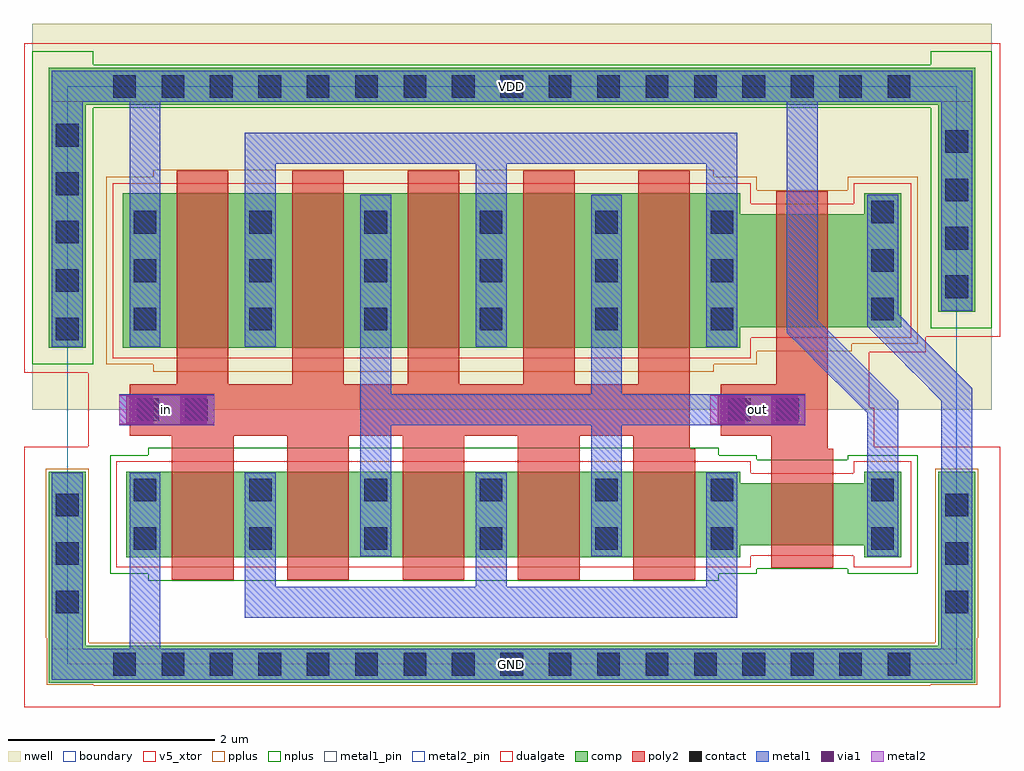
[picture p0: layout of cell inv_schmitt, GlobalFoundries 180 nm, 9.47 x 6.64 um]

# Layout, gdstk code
import gdstk
lib = gdstk.Library(unit=1e-6, precision=1e-09)
def R(c, l, rs):  # rectangles x0, y0, x1, y1
    for r in rs: c.add(gdstk.rectangle(r[:2], r[2:], *l))
def A(c, l, x, y, w, h, nx, ny, dx, dy):  # array of equal rectangles
    R(c, l, [(x+i*dx, y+j*dy, x+i*dx+w, y+j*dy+h) for i in range(nx) for j in range(ny)])
def P(c, l, *ps):  # polygons
    for p in ps: c.add(gdstk.Polygon(p, *l))
boundary = (0, 0)
nwell = (21, 0)
comp = (22, 0)
poly2 = (30, 0)
pplus = (31, 0)
nplus = (32, 0)
contact = (33, 0)
metal1 = (34, 0)
metal1_pin = (34, 10)
via1 = (35, 0)
metal2 = (36, 0)
metal2_pin = (36, 10)
dualgate = (55, 0)
v5_xtor = (112, 1)

inv_schmitt = lib.new_cell('inv_schmitt')
R(inv_schmitt, boundary, [(0,0,8.635,5.61)])
R(inv_schmitt, nwell, [(-0.34,2.47,8.975,6.22)])
R(inv_schmitt, comp, [(-0.18,-0.18,8.815,0.18), (-0.18,0.18,0.18,1.87), (8.455,0.18,8.815,1.87), (0.575,1.04,6.535,1.155), (7.735,1.04,8.095,1.155), (0.575,1.155,8.095,1.755), (0.575,1.755,6.535,1.87), (7.735,1.755,8.095,1.87), (-0.18,3.07,0.18,5.43), (0.54,3.07,6.535,3.27), (0.54,3.27,8.095,4.37), (8.455,3.42,8.815,5.43), (0.54,4.37,6.535,4.57), (7.735,4.37,8.095,4.57), (-0.18,5.43,8.815,5.79)])
A(inv_schmitt, poly2, 1.015, 0.82, 0.6, 1.4, 4, 1, 1.12, 0)
A(inv_schmitt, poly2, 1.065, 2.72, 0.5, 2.07, 5, 1, 1.12, 0)
R(inv_schmitt, poly2, [(5.495,0.82,6.095,2.09), (6.835,0.935,7.435,2.09), (5.495,2.09,6.045,2.22), (6.835,2.09,7.385,2.22), (0.605,2.22,6.045,2.72), (6.345,2.22,7.385,2.72), (6.885,2.72,7.385,4.59)])
R(inv_schmitt, pplus, [(0.255,-0.21,8.38,-0.2), (-0.2,-0.2,8.835,0.21), (-0.2,0.21,0.21,0.255), (8.425,0.21,8.835,0.255), (-0.21,0.255,0.21,1.9), (8.425,0.255,8.845,1.9), (0.835,2.84,6.275,2.91), (0.38,2.91,6.695,3.04), (0.38,3.04,7.615,3.11), (0.38,3.11,8.255,4.6), (0.38,4.6,6.695,4.73), (7.575,4.6,8.255,4.73), (0.835,4.73,6.275,4.8)])
R(inv_schmitt, nplus, [(0.785,0.81,6.325,0.88), (0.415,0.88,6.695,0.925), (7.575,0.88,8.255,0.925), (0.415,0.925,8.255,1.985), (0.415,1.985,6.695,2.03), (7.575,1.985,8.255,2.03), (0.785,2.03,6.325,2.1), (-0.34,2.91,0.25,5.4), (8.385,3.26,8.975,5.4), (-0.34,5.4,8.975,5.82), (-0.34,5.82,0.25,5.95), (8.385,5.82,8.975,5.95)])
A(inv_schmitt, contact, 0.445, -0.11, 0.22, 0.22, 17, 2, 0.47, 5.61)
A(inv_schmitt, contact, -0.11, 0.495, 0.22, 0.22, 1, 3, 0, 0.47)
A(inv_schmitt, contact, 8.525, 0.495, 0.22, 0.22, 1, 3, 0, 0.47)
A(inv_schmitt, contact, 0.645, 1.11, 0.22, 0.22, 6, 2, 1.12, 0.47)
A(inv_schmitt, contact, -0.11, 3.145, 0.22, 0.22, 1, 5, 0, 0.47)
A(inv_schmitt, contact, 0.645, 3.24, 0.22, 0.22, 6, 3, 1.12, 0.47)
A(inv_schmitt, contact, 7.805, 3.34, 0.22, 0.22, 1, 3, 0, 0.47)
A(inv_schmitt, contact, 8.525, 3.555, 0.22, 0.22, 1, 4, 0, 0.47)
R(inv_schmitt, contact, [(7.805,1.11,8.025,1.33), (7.805,1.58,8.025,1.8), (0.675,2.36,0.895,2.58), (1.145,2.36,1.365,2.58), (6.415,2.36,6.635,2.58), (6.885,2.36,7.105,2.58)])
A(inv_schmitt, metal1, 1.725, 0.75, 0.3, 1.11, 3, 1, 2.24, 0)
A(inv_schmitt, metal1, 1.725, 3.08, 0.3, 1.78, 3, 1, 2.24, 0)
R(inv_schmitt, metal1, [(-0.15,-0.15,8.785,0.15), (-0.15,0.15,0.15,1.86), (0.605,0.15,0.905,1.86), (8.485,0.15,8.785,2.68), (1.725,0.45,6.505,0.75), (2.845,1.05,3.145,2.32), (5.085,1.05,5.385,2.32), (7.765,1.05,8.065,2.56), (0.505,2.32,1.425,2.62), (2.845,2.32,7.165,2.62), (7.765,2.56,7.78,2.62), (2.845,2.62,3.145,4.56), (5.085,2.62,5.385,4.56), (7.585,2.62,7.78,2.845), (8.485,2.68,8.645,2.805), (8.24,2.805,8.645,2.82), (8.24,2.82,8.245,2.845), (7.36,2.845,7.645,2.98), (8.2,2.845,8.245,2.98), (8.065,2.98,8.245,3.22), (-0.15,3.08,0.15,5.46), (0.605,3.08,0.905,5.46), (7.125,3.08,7.36,3.22), (6.985,3.22,7.36,3.265), (6.985,3.265,7.29,3.335), (7.78,3.265,8.065,3.28), (7.765,3.28,8.065,4.56), (6.985,3.335,7.285,5.46), (8.485,3.43,8.785,5.46), (1.725,4.86,6.505,5.16), (-0.15,5.46,8.785,5.76)])
P(inv_schmitt, metal1, [(8.485,2.56),(8.24,2.805),(8.485,2.805)],
  [(8.245,2.82),(8.245,3.22),(8.645,2.82)],
  [(7.285,3.335),(7.285,3.34),(7.29,3.335)],
  [(7.29,3.265),(7.29,3.335),(7.36,3.265)],
  [(7.78,3.265),(7.765,3.28),(7.78,3.28)],
  [(8.065,3.22),(8.065,3.4),(8.245,3.22)],
  [(7.645,2.845),(7.645,2.98),(7.78,2.845)],
  [(7.765,2.44),(7.585,2.62),(7.765,2.62)],
  [(8.645,2.68),(8.645,2.82),(8.785,2.68)],
  [(7.125,3.08),(6.985,3.22),(7.125,3.22)],
  [(7.585,2.62),(7.36,2.845),(7.585,2.845)],
  [(7.36,2.845),(7.125,3.08),(7.36,3.08)],
  [(7.78,2.56),(7.78,2.845),(8.065,2.56)],
  [(7.36,2.98),(7.36,3.265),(7.645,2.98)],
  [(8.065,2.98),(7.78,3.265),(8.065,3.265)],
  [(8.2,2.845),(8.065,2.98),(8.2,2.98)],
  [(8.24,2.805),(8.2,2.845),(8.24,2.845)])
R(inv_schmitt, metal1_pin, [(-0.15,-0.15,8.785,0.15), (-0.15,5.46,8.785,5.76)])
R(inv_schmitt, via1, [(0.575,2.34,0.835,2.6), (1.095,2.34,1.355,2.6), (6.315,2.34,6.575,2.6), (6.835,2.34,7.095,2.6)])
R(inv_schmitt, metal2, [(0.505,2.33,1.425,2.61), (6.24,2.33,7.165,2.61)])
R(inv_schmitt, metal2_pin, [(0.505,2.33,1.425,2.61), (6.24,2.33,7.16,2.61)])
R(inv_schmitt, dualgate, [(-0.42,-0.42,9.055,2.11), (0.205,2.11,7.835,2.49), (0.205,2.49,7.785,2.83), (-0.42,2.83,7.785,3.03), (-0.42,3.03,8.335,3.18), (-0.42,3.18,9.055,6.03)])
R(inv_schmitt, v5_xtor, [(0.475,0.94,6.635,1.055), (7.635,0.94,8.195,1.055), (0.475,1.055,8.195,1.855), (0.475,1.855,6.635,1.97), (7.635,1.855,8.195,1.97), (0.44,2.97,6.635,3.17), (0.44,3.17,8.195,4.47), (0.44,4.47,6.635,4.67), (7.635,4.47,8.195,4.67)])
inv_schmitt.add(gdstk.Label('out', (6.7,2.47), layer=36, texttype=10))
inv_schmitt.add(gdstk.Label('in', (0.965,2.47), layer=36, texttype=10))
inv_schmitt.add(gdstk.Label('VDD', (4.317,5.61), layer=34, texttype=10))
inv_schmitt.add(gdstk.Label('GND', (4.317,0), layer=34, texttype=10))

lib.write_gds('inv_schmitt.gds')
